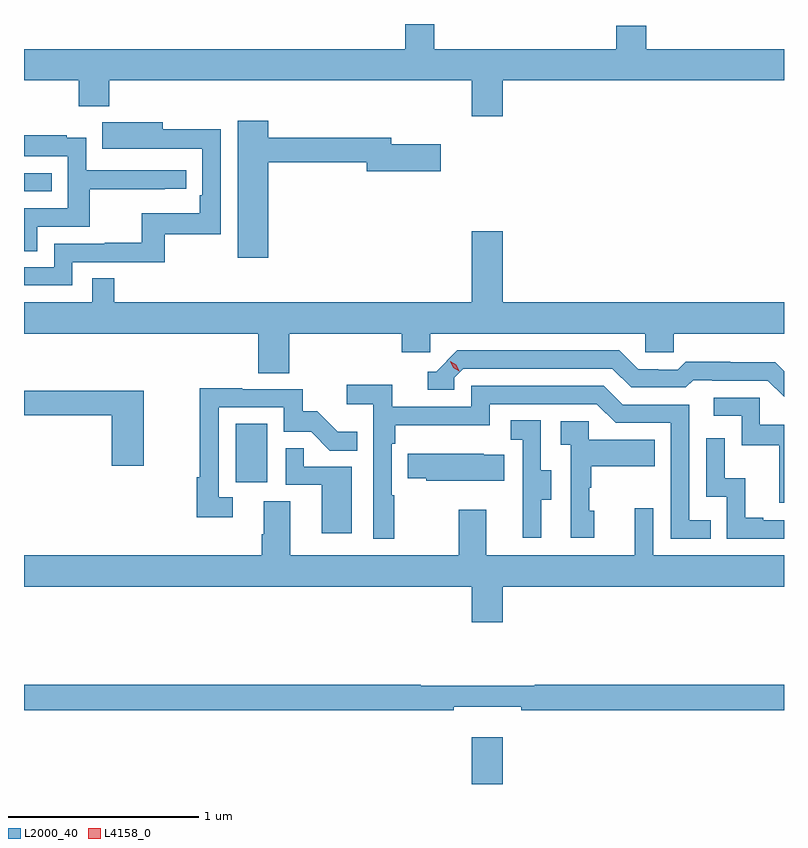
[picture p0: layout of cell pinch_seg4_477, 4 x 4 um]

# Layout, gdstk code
import gdstk
lib = gdstk.Library(unit=1e-6, precision=1e-09)
def R(c, l, rs):  # rectangles x0, y0, x1, y1
    for r in rs: c.add(gdstk.rectangle(r[:2], r[2:], *l))
def P(c, l, *ps):  # polygons
    for p in ps: c.add(gdstk.Polygon(p, *l))
L2000_40 = (2000, 40)
L4158_0 = (4158, 0)

pinch_seg4_477 = lib.new_cell('pinch_seg4_477')
R(pinch_seg4_477, L2000_40, [(932.24,749.161,932.404,749.407), (930.998,750.75,931.162,751.057), (929.883,752.28,930.029,752.376)])
P(pinch_seg4_477, L2000_40, [(932.404,752.864),(933.883,752.864),(933.883,753.028),(933.158,753.028),(933.158,753.152),(933.001,753.152),(933.001,753.028),(932.041,753.028),(932.041,753.161),(931.889,753.161),(931.889,753.028),(929.883,753.028),(929.883,752.864),(930.172,752.864),(930.172,752.729),(930.332,752.729),(930.332,752.864),(932.24,752.864),(932.24,752.676),(932.404,752.676)],
  [(931.168,752.434),(931.688,752.434),(931.688,752.387),(932.077,752.387),(932.077,752.529),(931.816,752.529),(931.816,752.563),(931.168,752.563),(931.168,752.653),(931.007,752.653),(931.007,751.932),(931.168,751.932)],
  [(930.138,751.908),(930.625,751.908),(930.625,752.055),(930.918,752.055),(930.918,752.606),(930.613,752.606),(930.613,752.644),(930.295,752.644),(930.295,752.504),(930.509,752.504),(930.509,752.505),(930.822,752.505),(930.822,752.26),(930.809,752.26),(930.809,752.164),(930.504,752.164),(930.504,752.009),(930.307,752.009),(930.307,752.004),(930.042,752.004),(930.042,751.881),(929.883,751.881),(929.883,751.785),(930.138,751.785)],
  [(929.953,752.094),(930.23,752.094),(930.23,752.29),(930.623,752.29),(930.623,752.295),(930.736,752.295),(930.736,752.391),(930.21,752.391),(930.21,752.563),(930.107,752.563),(930.107,752.575),(929.883,752.575),(929.883,752.466),(930.114,752.466),(930.114,752.19),(929.883,752.19),(929.883,751.966),(929.953,751.966)],
  [(930.243,751.823),(930.243,751.696),(929.883,751.696),(929.883,751.532),(931.115,751.532),(931.115,751.324),(931.28,751.324),(931.28,751.532),(931.871,751.532),(931.871,751.434),(932.022,751.434),(932.022,751.532),(933.153,751.532),(933.153,751.434),(933.303,751.434),(933.303,751.532),(933.883,751.532),(933.883,751.696),(932.404,751.696),(932.404,752.071),(932.24,752.071),(932.24,751.696),(930.359,751.696),(930.359,751.823)],
  [(933.883,751.334),(933.836,751.381),(933.6,751.381),(933.6,751.384),(933.367,751.384),(933.325,751.341),(933.222,751.341),(933.222,751.344),(933.115,751.344),(933.016,751.443),(932.163,751.443),(932.052,751.332),(932.009,751.332),(932.009,751.236),(932.148,751.236),(932.148,751.299),(932.196,751.347),(932.979,751.347),(933.078,751.248),(933.367,751.248),(933.406,751.287),(933.505,751.287),(933.505,751.284),(933.798,751.284),(933.883,751.199)],
  [(931.831,750.68),(931.818,750.68),(931.818,750.953),(931.838,750.953),(931.838,751.049),(932.334,751.049),(932.334,751.161),(932.898,751.161),(932.997,751.062),(933.288,751.062),(933.288,750.453),(933.497,750.453),(933.497,750.549),(933.384,750.549),(933.384,751.158),(933.034,751.158),(932.935,751.257),(932.238,751.257),(932.238,751.146),(931.82,751.146),(931.82,751.262),(931.581,751.262),(931.581,751.16),(931.722,751.16),(931.722,750.453),(931.831,750.453)],
  [(930.982,750.669),(930.909,750.669),(930.909,751.143),(931.251,751.143),(931.251,751.014),(931.395,751.014),(931.493,750.916),(931.637,750.916),(931.637,751.015),(931.533,751.015),(931.426,751.122),(931.35,751.122),(931.35,751.239),(931.031,751.239),(931.031,751.244),(930.808,751.244),(930.808,750.776),(930.793,750.776),(930.793,750.564),(930.982,750.564)],
  [(930.514,751.231),(929.883,751.231),(929.883,751.102),(930.344,751.102),(930.344,750.837),(930.514,750.837)],
  [(933.883,751.053),(933.756,751.053),(933.756,751.194),(933.513,751.194),(933.513,751.098),(933.66,751.098),(933.66,750.945),(933.859,750.945),(933.859,750.642),(933.883,750.642)],
  [(932.605,750.658),(932.659,750.658),(932.659,750.813),(932.604,750.813),(932.604,751.076),(932.445,751.076),(932.445,750.973),(932.508,750.973),(932.508,750.669),(932.507,750.669),(932.507,750.456),(932.605,750.456)],
  [(932.884,750.6),(932.859,750.6),(932.859,750.719),(932.869,750.719),(932.869,750.833),(933.203,750.833),(933.203,750.973),(932.856,750.973),(932.856,751.071),(932.709,751.071),(932.709,750.947),(932.76,750.947),(932.76,750.456),(932.884,750.456)],
  [(933.883,750.549),(933.775,750.549),(933.775,750.562),(933.68,750.562),(933.68,750.77),(933.57,750.77),(933.57,750.982),(933.474,750.982),(933.474,750.672),(933.582,750.672),(933.582,750.453),(933.883,750.453)],
  [(931.609,750.831),(931.355,750.831),(931.355,750.929),(931.26,750.929),(931.26,750.735),(931.451,750.735),(931.451,750.48),(931.609,750.48)],
  [(932.411,750.895),(932.303,750.895),(932.303,750.898),(931.903,750.898),(931.903,750.769),(932.001,750.769),(932.001,750.758),(932.411,750.758)],
  [(932.404,750.2),(933.883,750.2),(933.883,750.364),(933.195,750.364),(933.195,750.613),(933.098,750.613),(933.098,750.364),(932.317,750.364),(932.317,750.604),(932.17,750.604),(932.17,750.364),(931.285,750.364),(931.285,750.65),(931.145,750.65),(931.145,750.476),(931.133,750.476),(931.133,750.364),(929.883,750.364),(929.883,750.2),(932.24,750.2),(932.24,750.012),(932.404,750.012)],
  [(932.144,749.567),(932.5,749.567),(932.5,749.548),(933.883,749.548),(933.883,749.684),(932.572,749.684),(932.572,749.677),(931.972,749.677),(931.972,749.684),(929.883,749.684),(929.883,749.548),(932.144,749.548)])
P(pinch_seg4_477, L4158_0, [(932.173,751.334),(932.142,751.353),(932.126,751.386),(932.126,751.386),(932.126,751.386),(932.157,751.367),(932.173,751.334),(932.173,751.334)])

lib.write_gds('pinch_seg4_477.gds')
